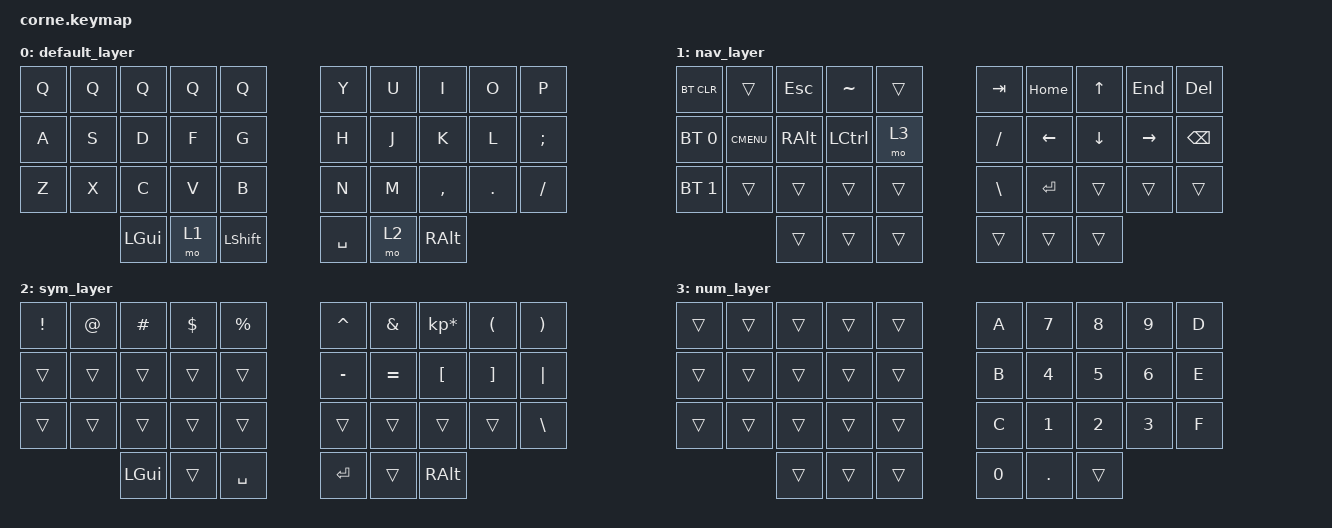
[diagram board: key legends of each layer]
Skip to content
Search or jump to…
Pull requests
Issues
Marketplace
Explore
 
@minsdad 
minsdad
/
zmk2
Public
1
00
Code
Issues
Pull requests
Actions
Projects
Wiki
Security
Insights
Settings
zmk2/config/microdox.keymap
@minsdad
minsdad Initial User Config.
Latest commit 89a77b5 1 hour ago
 History
 1 contributor
72 lines (67 sloc)  3.55 KB
   
/*
 * Copyright (c) 2020 The ZMK Contributors
 *
 * SPDX-License-Identifier: MIT
 */

#include <behaviors.dtsi>
#include <dt-bindings/zmk/keys.h>
#include <dt-bindings/zmk/bt.h>

/ {
        keymap {
                compatible = "zmk,keymap";

                default_layer {
// -----------------------------------------------------------------------------------------
// |  Q  |  Q  |  Q  |  R  |  R   |   |  Y  |  U   |  I  |  O  |  P  |
// |  A  |  S  |  D  |  F  |  G   |   |  H  |  J   |  K  |  L  |  ;  |
// |  Z  |  X  |  C  |  V  |  B   |   |  N  |  M   |  ,  |  .  |  /  |
//             | GUI | NAV | SHFT |   | SPC | SYM  | ALT |
                        bindings = <
   &kp Q &kp Q &kp Q &kp Q &kp Q   &kp Y &kp U  &kp I     &kp O   &kp P
   &kp A &kp S &kp D &kp F &kp G   &kp H &kp J  &kp K     &kp L   &kp SEMI
   &kp Z &kp X &kp C &kp V &kp B   &kp N &kp M  &kp COMMA &kp DOT &kp FSLH
          &kp LGUI &mo 1 &kp LSHFT &kp SPACE &mo 2 &kp RALT
                        >;
                };
                nav_layer {
// -----------------------------------------------------------------------------------------
// |BTCLR|     | ESC |  ~   |     |   | TAB | HOME |  UP  | END | DEL  |
// | BT1 | GUI | ALT | CTRL | NUM |   |  /  | LEFT | DOWN | RGT | BKSP |
// | BT2 |     |     |      |     |   |  \  | ENT  |      |     |      |
//             |     |      |     |   |     |      |      |
                        bindings = <
   &bt BT_CLR   &trans      &kp ESC  &kp TILDE &trans     &kp TAB  &kp HOME &kp UP   &kp END   &kp DEL
   &bt BT_SEL 0 &kp K_CMENU &kp RALT &kp LCTRL &mo 3      &kp FSLH &kp LEFT &kp DOWN &kp RIGHT &kp BSPC
   &bt BT_SEL 1 &trans      &trans   &trans    &trans     &kp BSLH &kp RET  &trans   &trans    &trans
                            &trans   &trans    &trans     &trans   &trans   &trans
                        >;
                };

                sym_layer {
// -----------------------------------------------------------------------------------------
// |  !  |  @  |  #  |  $  |  %  |   |  ^  |  &  |  *  |  (  |  )  |
// |     |     |     |     |     |   |  -  |  =  |  {  |  }  | "|" |
// |     |     |     |     |     |   |  _  |  +  |  [  |  ]  |  \  |
//             | GUI |     | SPC |   | ENT |     | ALT |
                        bindings = <
   &kp EXCL  &kp AT    &kp HASH  &kp DLLR  &kp PRCNT   &kp CARET &kp AMPS  &kp KP_MULTIPLY &kp LPAR &kp RPAR
   &trans    &trans    &trans    &trans    &trans      &kp MINUS &kp EQUAL &kp LBKT        &kp RBKT &kp PIPE
   &trans    &trans    &trans    &trans    &trans      &trans    &trans    &trans          &trans   &kp BSLH
                       &kp LGUI  &trans    &kp SPACE   &kp RET   &trans    &kp RALT
                        >;
                };

// This layer is unreachable until "tri layer state" is sorted out.
// Leaving it here for completeness.
                num_layer {
// -----------------------------------------------------------------------------------------
// |     |     |     |     |     |   |  A  |  7  |  8  |  9  |  D  |
// |     |     |     |     |     |   |  B  |  4  |  5  |  6  |  E  |
// |     |     |     |     |     |   |  C  |  1  |  2  |  3  |  F  |
//             |     |     |     |   |  0  |  .  |     |
                        bindings = <
   &trans &trans &trans &trans &trans    &kp A  &kp N7  &kp N8 &kp N9 &kp D
   &trans &trans &trans &trans &trans    &kp B  &kp N4  &kp N5 &kp N6 &kp E
   &trans &trans &trans &trans &trans    &kp C  &kp N1  &kp N2 &kp N3 &kp F
                 &trans &trans &trans    &kp N0 &kp DOT &trans
                        >;
                };
        };
};
